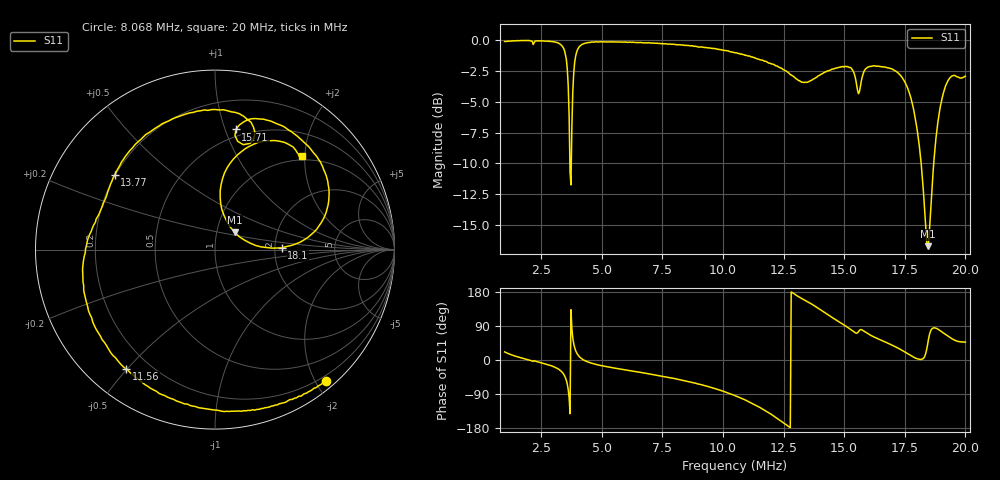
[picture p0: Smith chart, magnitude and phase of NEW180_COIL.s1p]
!Keysight Technologies N9918A: A.12.56
!Date: Thursday, 10 July 2025 06:28:56
!TimeZone: (UTC-08:00) Pacific Time (US & Canada)!Model: N9918A
!Serial: MY56072139
!GPS Latitude:
!GPS Longitude:
!GPS TimeStamp: 0001-01-01 00:00:00Z
!GPS Seconds Since Last Read: 0
!CHECKSUM:1927463936
!Correction: S11(ON U)
!S1P File: Measurement: S11:
# Hz S DB R 50
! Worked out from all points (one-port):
!   501 points, 1 MHz to 20 MHz, reference 50 ohm
!   lowest |S11| = -16.7 dB at 18.44 MHz (marker M1), VSWR 1.34, Z = 61.1 + j12 ohm
!   |S11| at or under -10 dB: 3.692 MHz to 3.75 MHz (57.63 kHz wide, 1.55 % of centre); 18.18 MHz to 18.69 MHz (517.7 kHz wide, 2.81 % of centre)
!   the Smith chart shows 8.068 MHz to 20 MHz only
!   S11 on the Smith chart (normalised r, x): 8.068 MHz: 0.12, -2.14; 11.56 MHz: 0.12, -0.50; 13.77 MHz: 0.20, +0.32; 15.71 MHz: 0.44, +1.09; 18.1 MHz: 2.18, +0.05; 20 MHz: 0.92, +1.95
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1000000  -0.13 21.3
2672000  -0.11 -10.1
3394000  -0.56 -34.0
3584000  -2.35 -63.6
3698000  -10.68 -141.8
3774000  -7.00 82.2
3850000  -2.69 42.9
3964000  -1.04 19.6
4154000  -0.43 4.6
5750000  -0.18 -23.7
8068000  -0.39 -49.9
8144000  -0.41 -50.9
1.05e7  -1.04 -94.1
1.1564e7  -1.63 -126.7
1.2286e7  -2.19 -156.1
1.2894e7  -2.94 176.3
1.3768e7  -3.14 143.3
1.4566e7  -2.36 109.7
1.525e7  -2.24 81.6
1.5706e7  -3.35 80.2
1.6542e7  -2.17 51.8
1.7644e7  -4.04 15.9
1.81e7  -8.59 1.6
1.8442e7  -16.69 40.9
1.8708e7  -9.64 85.0
1.905e7  -4.65 73.4
1.9506e7  -2.89 53.9
2e7  -2.93 46.9
